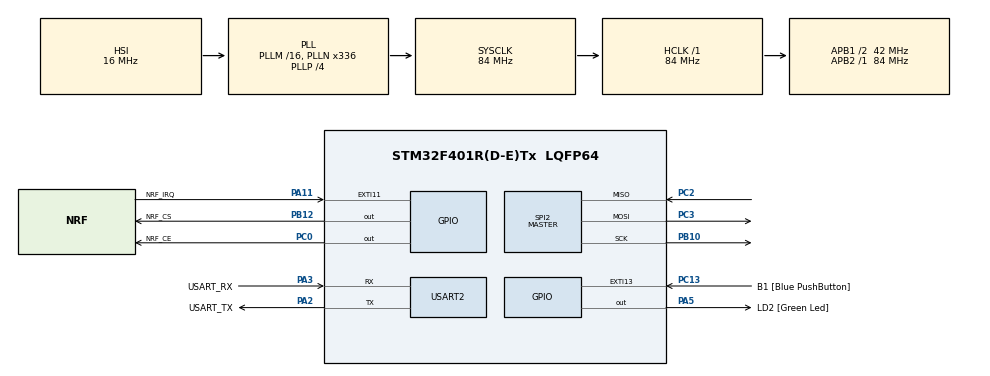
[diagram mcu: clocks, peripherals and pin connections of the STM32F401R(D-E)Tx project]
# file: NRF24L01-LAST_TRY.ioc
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Dma.Request0=USART2_RX
Dma.USART2_RX.0.Direction=DMA_PERIPH_TO_MEMORY
Dma.USART2_RX.0.FIFOMode=DMA_FIFOMODE_ENABLE
Dma.USART2_RX.0.FIFOThreshold=DMA_FIFO_THRESHOLD_FULL
Dma.USART2_RX.0.Instance=DMA1_Stream5
Dma.USART2_RX.0.MemBurst=DMA_MBURST_SINGLE
Dma.USART2_RX.0.MemDataAlignment=DMA_MDATAALIGN_BYTE
Dma.USART2_RX.0.MemInc=DMA_MINC_ENABLE
Dma.USART2_RX.0.Mode=DMA_CIRCULAR
Dma.USART2_RX.0.PeriphBurst=DMA_PBURST_SINGLE
Dma.USART2_RX.0.PeriphDataAlignment=DMA_PDATAALIGN_BYTE
Dma.USART2_RX.0.PeriphInc=DMA_PINC_DISABLE
Dma.USART2_RX.0.Priority=DMA_PRIORITY_MEDIUM
Mcu.Family=STM32F4
Mcu.Name=STM32F401R(D-E)Tx
Mcu.Package=LQFP64
NVIC.DMA1_Stream5_IRQn=true\:0\:0\:false\:false\:true\:false
NVIC.EXTI15_10_IRQn=true\:0\:0\:false\:false\:true\:true
NVIC.PriorityGroup=NVIC_PRIORITYGROUP_0
NVIC.SPI2_IRQn=true\:0\:0\:false\:false\:true\:true
NVIC.USART2_IRQn=true\:0\:0\:false\:false\:true\:true
PA11.GPIO_Label=NRF_IRQ
PA11.GPIO_ModeDefaultEXTI=GPIO_MODE_IT_FALLING
PA11.GPIO_PuPd=GPIO_PULLUP
PA11.Signal=GPXTI11
PA13.GPIO_Label=TMS
PA13.Mode=Serial_Wire
PA13.Signal=SYS_JTMS-SWDIO
PA14.GPIO_Label=TCK
PA14.Mode=Serial_Wire
PA14.Signal=SYS_JTCK-SWCLK
PA2.GPIO_Label=USART_TX
PA2.GPIO_Mode=GPIO_MODE_AF_PP
PA2.GPIO_PuPd=GPIO_NOPULL
PA2.GPIO_Speed=GPIO_SPEED_FREQ_LOW
PA2.Mode=Asynchronous
PA2.Signal=USART2_TX
PA3.GPIO_Label=USART_RX
PA3.GPIO_Mode=GPIO_MODE_AF_PP
PA3.GPIO_PuPd=GPIO_NOPULL
PA3.GPIO_Speed=GPIO_SPEED_FREQ_LOW
PA3.Mode=Asynchronous
PA3.Signal=USART2_RX
PA5.GPIO_Label=LD2 [Green Led]
PA5.GPIO_Mode=GPIO_MODE_OUTPUT_PP
PA5.GPIO_PuPd=GPIO_NOPULL
PA5.GPIO_Speed=GPIO_SPEED_FREQ_LOW
PA5.Signal=GPIO_Output
PB10.GPIO_PuPd=GPIO_NOPULL
PB10.Mode=Full_Duplex_Master
PB10.Signal=SPI2_SCK
PB12.GPIO_Label=NRF_CS
PB12.GPIO_PuPd=GPIO_PULLUP
PB12.GPIO_Speed=GPIO_SPEED_FREQ_VERY_HIGH
PB12.PinState=GPIO_PIN_SET
PB12.Signal=GPIO_Output
PB3.GPIO_Label=SWO
PB3.Signal=SYS_JTDO-SWO
PC0.GPIO_Label=NRF_CE
PC0.GPIO_PuPd=GPIO_PULLDOWN
PC0.GPIO_Speed=GPIO_SPEED_FREQ_VERY_HIGH
PC0.Signal=GPIO_Output
PC13-ANTI_TAMP.GPIO_Label=B1 [Blue PushButton]
PC13-ANTI_TAMP.GPIO_ModeDefaultEXTI=GPIO_MODE_IT_FALLING
PC13-ANTI_TAMP.GPIO_PuPd=GPIO_NOPULL
PC13-ANTI_TAMP.Signal=GPXTI13
PC14-OSC32_IN.Mode=LSE-External-Oscillator
PC14-OSC32_IN.Signal=RCC_OSC32_IN
PC15-OSC32_OUT.Mode=LSE-External-Oscillator
PC15-OSC32_OUT.Signal=RCC_OSC32_OUT
PC2.GPIO_PuPd=GPIO_NOPULL
PC2.Mode=Full_Duplex_Master
PC2.Signal=SPI2_MISO
PC3.GPIO_PuPd=GPIO_NOPULL
PC3.Mode=Full_Duplex_Master
PC3.Signal=SPI2_MOSI
PH0\ -\ OSC_IN.Mode=HSE-External-Clock-Source
PH0\ -\ OSC_IN.Signal=RCC_OSC_IN
PH1\ -\ OSC_OUT.Mode=HSE-External-Clock-Source
PH1\ -\ OSC_OUT.Signal=RCC_OSC_OUT
ProjectManager.HeapSize=0x200
ProjectManager.StackSize=0x400
ProjectManager.TargetToolchain=MDK-ARM V5
RCC.48MHZClocksFreq_Value=48000000
RCC.AHBFreq_Value=84000000
RCC.APB1CLKDivider=RCC_HCLK_DIV2
RCC.APB1Freq_Value=42000000
RCC.APB1TimFreq_Value=84000000
RCC.APB2Freq_Value=84000000
RCC.APB2TimFreq_Value=84000000
RCC.CortexFreq_Value=84000000
RCC.HCLKFreq_Value=84000000
RCC.HSE_VALUE=8000000
RCC.HSI_VALUE=16000000
RCC.PLLN=336
RCC.PLLP=RCC_PLLP_DIV4
RCC.PLLQ=7
RCC.SYSCLKFreq_VALUE=84000000
RCC.SYSCLKSource=RCC_SYSCLKSOURCE_PLLCLK
RCC.VCOOutputFreq_Value=336000000
SPI2.BaudRatePrescaler=SPI_BAUDRATEPRESCALER_128
SPI2.CLKPolarity=SPI_POLARITY_LOW
SPI2.CRCCalculation=SPI_CRCCALCULATION_DISABLE
SPI2.Direction=SPI_DIRECTION_2LINES
SPI2.Mode=SPI_MODE_MASTER
SPI2.TIMode=SPI_TIMODE_DISABLE
SPI2.VirtualNSS=VM_NSSHARD
SPI2.VirtualType=VM_MASTER
USART2.VirtualMode=VM_ASYNC
board=NUCLEO-F401RE

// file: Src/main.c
/**
  ******************************************************************************
  * @file           : main.c
  * @brief          : Main program body
  ******************************************************************************
  ** This notice applies to any and all portions of this file
  * that are not between comment pairs USER CODE BEGIN and
  * USER CODE END. Other portions of this file, whether
  * inserted by the user or by software development tools
  * are owned by their respective copyright owners.
  *
  * COPYRIGHT(c) 2019 STMicroelectronics
  *
  * Redistribution and use in source and binary forms, with or without modification,
  * are permitted provided that the following conditions are met:
  *   1. Redistributions of source code must retain the above copyright notice,
  *      this list of conditions and the following disclaimer.
  *   2. Redistributions in binary form must reproduce the above copyright notice,
  *      this list of conditions and the following disclaimer in the documentation
  *      and/or other materials provided with the distribution.
  *   3. Neither the name of STMicroelectronics nor the names of its contributors
  *      may be used to endorse or promote products derived from this software
  *      without specific prior written permission.
  *
  * THIS SOFTWARE IS PROVIDED BY THE COPYRIGHT HOLDERS AND CONTRIBUTORS "AS IS"
  * AND ANY EXPRESS OR IMPLIED WARRANTIES, INCLUDING, BUT NOT LIMITED TO, THE
  * IMPLIED WARRANTIES OF MERCHANTABILITY AND FITNESS FOR A PARTICULAR PURPOSE ARE
  * DISCLAIMED. IN NO EVENT SHALL THE COPYRIGHT HOLDER OR CONTRIBUTORS BE LIABLE
  * FOR ANY DIRECT, INDIRECT, INCIDENTAL, SPECIAL, EXEMPLARY, OR CONSEQUENTIAL
  * DAMAGES (INCLUDING, BUT NOT LIMITED TO, PROCUREMENT OF SUBSTITUTE GOODS OR
  * SERVICES; LOSS OF USE, DATA, OR PROFITS; OR BUSINESS INTERRUPTION) HOWEVER
  * CAUSED AND ON ANY THEORY OF LIABILITY, WHETHER IN CONTRACT, STRICT LIABILITY,
  * OR TORT (INCLUDING NEGLIGENCE OR OTHERWISE) ARISING IN ANY WAY OUT OF THE USE
  * OF THIS SOFTWARE, EVEN IF ADVISED OF THE POSSIBILITY OF SUCH DAMAGE.
  *
  ******************************************************************************
  */
#include "main.h"
#include "stm32f4xx_hal.h"
#include "dma.h"
#include "spi.h"
#include "usart.h"
#include "gpio.h"

/* USER CODE BEGIN Includes */
#include "NRF24L01P_H.h"
#include "stdlib.h"
/* USER CODE END Includes */

/* USER CODE BEGIN PV */
/* Private variables ---------------------------------------------------------*/
NRF24L01P_ExTypeDef 				nrf;
NRF24L01P_MED_InitTypeDef 	nrf_init;
NRF24L01P_HandlerTypeDef 		hnrf;
uint8_t											nrf_stat_reg;
/* USER CODE END PV */

void SystemClock_Config(void);

/* USER CODE BEGIN PFP */
/* Private function prototypes -----------------------------------------------*/
void NRF_Tx_DS_Callback(void);
void NRF_Rx_DR_Callback(void);
void NRF_MAX_RT_Callback(void);
/* USER CODE END PFP */

int main(void)
{

  /* MCU Configuration----------------------------------------------------------*/

  /* Reset of all peripherals, Initializes the Flash interface and the Systick. */
  HAL_Init();

  /* Configure the system clock */
  SystemClock_Config();

  /* Initialize all configured peripherals */
  MX_GPIO_Init();
  MX_DMA_Init();
  MX_USART2_UART_Init();
  MX_SPI2_Init();
  /* USER CODE BEGIN 2 */
	nrf.hspi 									= &hspi2;
	nrf.spi_cs_port 					= NRF_CS_GPIO_Port;
	nrf.spi_cs_pin  					= NRF_CS_Pin;

	nrf_init.P_Mode						= NRF_PRIMARY_MODE_RX;

	hnrf.instance 						= &nrf;
	hnrf.init									=	&nrf_init;
	hnrf.STAT_Reg							=	&nrf_stat_reg;
	hnrf.CE_Port							= NRF_CE_GPIO_Port;
	hnrf.CE_Pin								= NRF_CE_Pin;
	hnrf.IRQ_Port							= NRF_IRQ_GPIO_Port;
	hnrf.IRQ_Pin							=	NRF_IRQ_Pin;
	hnrf.Tx_DS_IRQ_Callback		=	&NRF_Tx_DS_Callback;
	hnrf.Rx_DR_IRQ_Callback 	= &NRF_Rx_DR_Callback;
	hnrf.Max_RT_IRQ_Callback	= &NRF_MAX_RT_Callback;

	NRF_H_Init( &hnrf );
	NRF_H_ResetChipEn( &hnrf );
	NRF_MED_Set_PowerUp( hnrf.instance, NRF_POWER_UP, NULL);

  /* USER CODE END 2 */

  /* Infinite loop */
  /* USER CODE BEGIN WHILE */
	HAL_Delay(2000);
	HAL_UART_Transmit(&huart2, (uint8_t*)"Hello!\n", 7, HAL_MAX_DELAY);

	//NRF_EX_Write_Tx_PL( hnrf.instance, 1, (uint8_t*) 0xF5, NULL );

	NRF_H_SetChipEn( &hnrf );
  while (1)
  {

  /* USER CODE END WHILE */

  }

}

void SystemClock_Config(void)
{

  RCC_OscInitTypeDef RCC_OscInitStruct;
  RCC_ClkInitTypeDef RCC_ClkInitStruct;

    /**Configure the main internal regulator output voltage
    */
  __HAL_RCC_PWR_CLK_ENABLE();

  __HAL_PWR_VOLTAGESCALING_CONFIG(PWR_REGULATOR_VOLTAGE_SCALE2);

    /**Initializes the CPU, AHB and APB busses clocks
    */
  RCC_OscInitStruct.OscillatorType = RCC_OSCILLATORTYPE_HSI;
  RCC_OscInitStruct.HSIState = RCC_HSI_ON;
  RCC_OscInitStruct.HSICalibrationValue = 16;
  RCC_OscInitStruct.PLL.PLLState = RCC_PLL_ON;
  RCC_OscInitStruct.PLL.PLLSource = RCC_PLLSOURCE_HSI;
  RCC_OscInitStruct.PLL.PLLM = 16;
  RCC_OscInitStruct.PLL.PLLN = 336;
  RCC_OscInitStruct.PLL.PLLP = RCC_PLLP_DIV4;
  RCC_OscInitStruct.PLL.PLLQ = 7;
  if (HAL_RCC_OscConfig(&RCC_OscInitStruct) != HAL_OK)
  {
    _Error_Handler(__FILE__, __LINE__);
  }

    /**Initializes the CPU, AHB and APB busses clocks
    */
  RCC_ClkInitStruct.ClockType = RCC_CLOCKTYPE_HCLK|RCC_CLOCKTYPE_SYSCLK
                              |RCC_CLOCKTYPE_PCLK1|RCC_CLOCKTYPE_PCLK2;
  RCC_ClkInitStruct.SYSCLKSource = RCC_SYSCLKSOURCE_PLLCLK;
  RCC_ClkInitStruct.AHBCLKDivider = RCC_SYSCLK_DIV1;
  RCC_ClkInitStruct.APB1CLKDivider = RCC_HCLK_DIV2;
  RCC_ClkInitStruct.APB2CLKDivider = RCC_HCLK_DIV1;

  if (HAL_RCC_ClockConfig(&RCC_ClkInitStruct, FLASH_LATENCY_2) != HAL_OK)
  {
    _Error_Handler(__FILE__, __LINE__);
  }

    /**Configure the Systick interrupt time
    */
  HAL_SYSTICK_Config(HAL_RCC_GetHCLKFreq()/1000);

    /**Configure the Systick
    */
  HAL_SYSTICK_CLKSourceConfig(SYSTICK_CLKSOURCE_HCLK);

  /* SysTick_IRQn interrupt configuration */
  HAL_NVIC_SetPriority(SysTick_IRQn, 0, 0);
}

/* USER CODE BEGIN 4 */
void NRF_Tx_DS_Callback(void)
{
	UNUSED(0);
}
void NRF_Rx_DR_Callback(void)
{
	UNUSED(0);
}
void NRF_MAX_RT_Callback(void)
{
	UNUSED(0);
}
/* USER CODE END 4 */

void _Error_Handler(char *file, int line)
{
  while(1)
  {
  }
}

/************************ (C) COPYRIGHT STMicroelectronics *****END OF FILE****/
